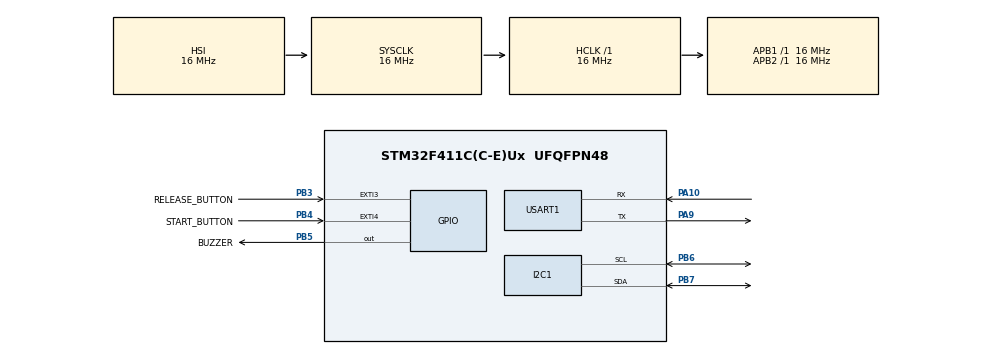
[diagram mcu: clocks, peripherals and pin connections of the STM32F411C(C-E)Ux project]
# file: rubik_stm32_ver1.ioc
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I2C1.DutyCycle=I2C_DUTYCYCLE_2
I2C1.I2C_Mode=I2C_Fast
Mcu.Family=STM32F4
Mcu.Name=STM32F411C(C-E)Ux
Mcu.Package=UFQFPN48
NVIC.EXTI3_IRQn=true\:0\:0\:false\:false\:true\:true\:true\:true
NVIC.EXTI4_IRQn=true\:0\:0\:false\:false\:true\:true\:true\:true
NVIC.I2C1_ER_IRQn=true\:0\:0\:false\:false\:true\:true\:true\:true
NVIC.I2C1_EV_IRQn=true\:0\:0\:false\:false\:true\:true\:true\:true
NVIC.PriorityGroup=NVIC_PRIORITYGROUP_4
NVIC.USART1_IRQn=true\:0\:0\:false\:false\:true\:true\:true\:true
PA10.Mode=Asynchronous
PA10.Signal=USART1_RX
PA13.Mode=Serial_Wire
PA13.Signal=SYS_JTMS-SWDIO
PA14.Mode=Serial_Wire
PA14.Signal=SYS_JTCK-SWCLK
PA9.Mode=Asynchronous
PA9.Signal=USART1_TX
PB3.GPIO_Label=RELEASE_BUTTON
PB3.GPIO_ModeDefaultEXTI=GPIO_MODE_IT_FALLING
PB3.GPIO_PuPd=GPIO_PULLUP
PB3.Signal=GPXTI3
PB4.GPIO_Label=START_BUTTON
PB4.GPIO_ModeDefaultEXTI=GPIO_MODE_IT_FALLING
PB4.GPIO_PuPd=GPIO_PULLUP
PB4.Signal=GPXTI4
PB5.GPIO_Label=BUZZER
PB5.Signal=GPIO_Output
PB6.GPIO_Pu=GPIO_NOPULL
PB6.Mode=I2C
PB6.Signal=I2C1_SCL
PB7.GPIO_Pu=GPIO_NOPULL
PB7.GPIO_Speed=GPIO_SPEED_FREQ_VERY_HIGH
PB7.Mode=I2C
PB7.Signal=I2C1_SDA
ProjectManager.HeapSize=0x200
ProjectManager.StackSize=0x400
ProjectManager.TargetToolchain=STM32CubeIDE
RCC.AHBFreq_Value=16000000
RCC.APB1Freq_Value=16000000
RCC.APB2Freq_Value=16000000
RCC.CortexFreq_Value=16000000
RCC.HSE_VALUE=25000000
RCC.HSI_VALUE=16000000
RCC.LSE_VALUE=32768
RCC.SYSCLKFreq_VALUE=16000000
RCC.VCOOutputFreq_Value=192000000
USART1.VirtualMode=VM_ASYNC
board=custom

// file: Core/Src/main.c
/* USER CODE BEGIN Header */
/**
  ******************************************************************************
  * @file           : main.c
  * @brief          : Main program body
  ******************************************************************************
  * @attention
  *
  * Copyright (c) 2026 STMicroelectronics.
  * All rights reserved.
  *
  * This software is licensed under terms that can be found in the LICENSE file
  * in the root directory of this software component.
  * If no LICENSE file comes with this software, it is provided AS-IS.
  *
  ******************************************************************************
  */
/* USER CODE END Header */
#include "main.h"

/* USER CODE BEGIN Includes */
#include "../../Hardware/PCA9685/PCA9685.h"
#include "../../Hardware/UART_Handle/UART_Handle.h"
#include "../../Hardware/Servo_Control/Servo_Control.h"
#include "../../Hardware/Rubik_Control/Rubik_Control.h"
/* USER CODE END Includes */

I2C_HandleTypeDef hi2c1;

UART_HandleTypeDef huart1;

void SystemClock_Config(void);
static void MX_GPIO_Init(void);
static void MX_I2C1_Init(void);
static void MX_USART1_UART_Init(void);

int main(void)
{

  /* MCU Configuration--------------------------------------------------------*/

  /* Reset of all peripherals, Initializes the Flash interface and the Systick. */
  HAL_Init();

  /* Configure the system clock */
  SystemClock_Config();

  /* Initialize all configured peripherals */
  MX_GPIO_Init();
  MX_I2C1_Init();
  MX_USART1_UART_Init();
  /* USER CODE BEGIN 2 */
  UART_Command_Init(&huart1);
  static const uint8_t uart_alive[] = "Hello from alive STM32 USART1\r\n";
  HAL_UART_Transmit(&huart1, uart_alive, sizeof(uart_alive) - 1U, 20U);
  PCA9685_Init(50); // 50Hz for servo
  Servo_Init();
  Rubik_Put();
  //Rubik_Hold_Start_Position();
  // UART_Command_Init(&huart1);
  /* USER CODE END 2 */

  /* Infinite loop */
  while (1)
  {

    /* USER CODE BEGIN 3 */
    //UART_Handle_Process();
	  //Rubik_Left();
	  //HAL_Delay(3000);
	   UART_Command_Process();

  }
  /* USER CODE END 3 */
}

void SystemClock_Config(void)
{
  RCC_OscInitTypeDef RCC_OscInitStruct = {0};
  RCC_ClkInitTypeDef RCC_ClkInitStruct = {0};

  /** Configure the main internal regulator output voltage
  */
  __HAL_RCC_PWR_CLK_ENABLE();
  __HAL_PWR_VOLTAGESCALING_CONFIG(PWR_REGULATOR_VOLTAGE_SCALE1);

  /** Initializes the RCC Oscillators according to the specified parameters
  * in the RCC_OscInitTypeDef structure.
  */
  RCC_OscInitStruct.OscillatorType = RCC_OSCILLATORTYPE_HSI;
  RCC_OscInitStruct.HSIState = RCC_HSI_ON;
  RCC_OscInitStruct.HSICalibrationValue = RCC_HSICALIBRATION_DEFAULT;
  RCC_OscInitStruct.PLL.PLLState = RCC_PLL_NONE;
  if (HAL_RCC_OscConfig(&RCC_OscInitStruct) != HAL_OK)
  {
    Error_Handler();
  }

  /** Initializes the CPU, AHB and APB buses clocks
  */
  RCC_ClkInitStruct.ClockType = RCC_CLOCKTYPE_HCLK|RCC_CLOCKTYPE_SYSCLK
                              |RCC_CLOCKTYPE_PCLK1|RCC_CLOCKTYPE_PCLK2;
  RCC_ClkInitStruct.SYSCLKSource = RCC_SYSCLKSOURCE_HSI;
  RCC_ClkInitStruct.AHBCLKDivider = RCC_SYSCLK_DIV1;
  RCC_ClkInitStruct.APB1CLKDivider = RCC_HCLK_DIV1;
  RCC_ClkInitStruct.APB2CLKDivider = RCC_HCLK_DIV1;

  if (HAL_RCC_ClockConfig(&RCC_ClkInitStruct, FLASH_LATENCY_0) != HAL_OK)
  {
    Error_Handler();
  }
}

static void MX_I2C1_Init(void)
{

  hi2c1.Instance = I2C1;
  hi2c1.Init.ClockSpeed = 400000;
  hi2c1.Init.DutyCycle = I2C_DUTYCYCLE_2;
  hi2c1.Init.OwnAddress1 = 0;
  hi2c1.Init.AddressingMode = I2C_ADDRESSINGMODE_7BIT;
  hi2c1.Init.DualAddressMode = I2C_DUALADDRESS_DISABLE;
  hi2c1.Init.OwnAddress2 = 0;
  hi2c1.Init.GeneralCallMode = I2C_GENERALCALL_DISABLE;
  hi2c1.Init.NoStretchMode = I2C_NOSTRETCH_DISABLE;
  if (HAL_I2C_Init(&hi2c1) != HAL_OK)
  {
    Error_Handler();
  }

}

static void MX_USART1_UART_Init(void)
{

  huart1.Instance = USART1;
  huart1.Init.BaudRate = 115200;
  huart1.Init.WordLength = UART_WORDLENGTH_8B;
  huart1.Init.StopBits = UART_STOPBITS_1;
  huart1.Init.Parity = UART_PARITY_NONE;
  huart1.Init.Mode = UART_MODE_TX_RX;
  huart1.Init.HwFlowCtl = UART_HWCONTROL_NONE;
  huart1.Init.OverSampling = UART_OVERSAMPLING_16;
  if (HAL_UART_Init(&huart1) != HAL_OK)
  {
    Error_Handler();
  }

}

static void MX_GPIO_Init(void)
{
  GPIO_InitTypeDef GPIO_InitStruct = {0};

  /* GPIO Ports Clock Enable */
  __HAL_RCC_GPIOA_CLK_ENABLE();
  __HAL_RCC_GPIOB_CLK_ENABLE();

  /*Configure GPIO pin Output Level */
  HAL_GPIO_WritePin(BUZZER_GPIO_Port, BUZZER_Pin, GPIO_PIN_RESET);

  /*Configure GPIO pins : RELEASE_BUTTON_Pin START_BUTTON_Pin */
  GPIO_InitStruct.Pin = RELEASE_BUTTON_Pin|START_BUTTON_Pin;
  GPIO_InitStruct.Mode = GPIO_MODE_IT_FALLING;
  GPIO_InitStruct.Pull = GPIO_PULLUP;
  HAL_GPIO_Init(GPIOB, &GPIO_InitStruct);

  /*Configure GPIO pin : BUZZER_Pin */
  GPIO_InitStruct.Pin = BUZZER_Pin;
  GPIO_InitStruct.Mode = GPIO_MODE_OUTPUT_PP;
  GPIO_InitStruct.Pull = GPIO_NOPULL;
  GPIO_InitStruct.Speed = GPIO_SPEED_FREQ_LOW;
  HAL_GPIO_Init(BUZZER_GPIO_Port, &GPIO_InitStruct);

  /* EXTI interrupt init*/
  HAL_NVIC_SetPriority(EXTI3_IRQn, 0, 0);
  HAL_NVIC_EnableIRQ(EXTI3_IRQn);

  HAL_NVIC_SetPriority(EXTI4_IRQn, 0, 0);
  HAL_NVIC_EnableIRQ(EXTI4_IRQn);

}

/* USER CODE BEGIN 4 */
void HAL_UART_RxCpltCallback(UART_HandleTypeDef *huart)
{
    UART_Command_RxCallback(huart);
}

void HAL_GPIO_EXTI_Callback(uint16_t GPIO_Pin)
{
    UNUSED(GPIO_Pin);
    if (GPIO_Pin == RELEASE_BUTTON_Pin)
    {
        // Handle release button press
        //Rubik_Release();
    }
    else if (GPIO_Pin == START_BUTTON_Pin)
    {
        // Handle start button press
        //Rubik_Start_Solve();
    }
}

/* USER CODE END 4 */

void Error_Handler(void)
{
  __disable_irq();
  while (1)
  {
  }
}
